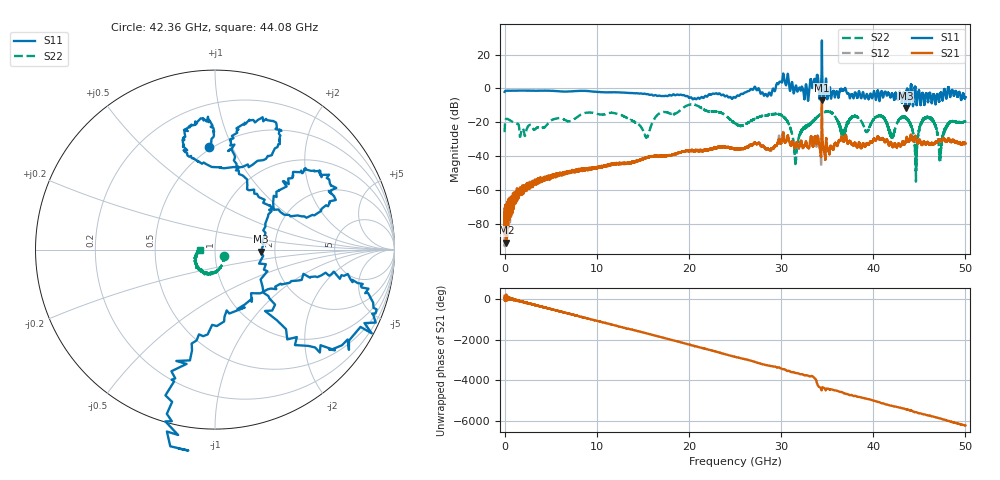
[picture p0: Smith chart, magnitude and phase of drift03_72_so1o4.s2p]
!Created with skrf (http://scikit-rf.org).
# Hz S RI R 50.0
!freq ReS11 ImS11 ReS21 ImS21 ReS12 ImS12 ReS22 ImS22
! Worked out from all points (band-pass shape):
!   10000 points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, 5.3 MHz to 50 GHz, reference 50 ohm
!   highest |S21| = -7.13 dB at 34.43 GHz (marker M1); lowest = -91.2 dB at 195.3 MHz (marker M2)
!   |S21| within 3 dB of the highest: 34.427 GHz to 34.43513 GHz (8.129 MHz wide, 0.0236 % of centre)
!   lowest |S11| = -11.9 dB at 43.52 GHz (marker M3), VSWR 1.69, Z = 84.2 - j2.18 ohm
!   |S11| at or under -10 dB: 43.48494 GHz to 43.55216 GHz (67.22 MHz wide, 0.154 % of centre); 43.8999 GHz to 43.90015 GHz (249 kHz wide, 0.000567 % of centre); 44.31166 GHz to 44.31718 GHz (5.517 MHz wide, 0.0124 % of centre) (the widest 3 of 4)
!   |S22| runs from -55.1 to -9.4 dB; largest |S21 - S12| = 0.12
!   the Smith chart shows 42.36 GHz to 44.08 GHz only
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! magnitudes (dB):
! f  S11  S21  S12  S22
! 5.3 MHz  -2.1  -74.5  -73.7  -25.9
! 195.3 MHz  -1.4  -91.2  -84.3  -18.1
! 2.805 GHz  -1.4  -57.5  -58.1  -21.5
! 8.34 GHz  -1.5  -48.0  -47.8  -15.3
! 12.46 GHz  -2.4  -44.5  -44.6  -15.5
! 15.4 GHz  -3.4  -40.9  -41.0  -29.0
! 16.67 GHz  -4.4  -39.9  -39.8  -15.3
! 20.45 GHz  -6.5  -36.9  -36.7  -9.5
! 25.01 GHz  -5.5  -36.0  -35.8  -20.7
! 29.93 GHz  4.0  -32.6  -31.8  -15.6
! 31.59 GHz  1.4  -33.9  -34.2  -44.2
! 33.34 GHz  2.7  -30.3  -30.5  -20.3
! 34.43 GHz  28.3  -7.1  -8.9  -14.5
! 36.69 GHz  -1.4  -29.7  -29.7  -25.5
! 37.95 GHz  -3.8  -32.6  -32.7  -16.4
! 41.67 GHz  -2.8  -33.1  -33.4  -24.7
! 43.52 GHz  -11.9  -31.3  -31.3  -17.5
! 44.62 GHz  -2.5  -29.3  -29.7  -48.6
! 45.67 GHz  -4.3  -33.1  -32.9  -17.6
! 47.28 GHz  -3.0  -30.6  -30.8  -41.7
! 48.23 GHz  -0.8  -30.4  -30.5  -20.6
! 50 GHz  -5.2  -32.5  -32.3  -19.5
